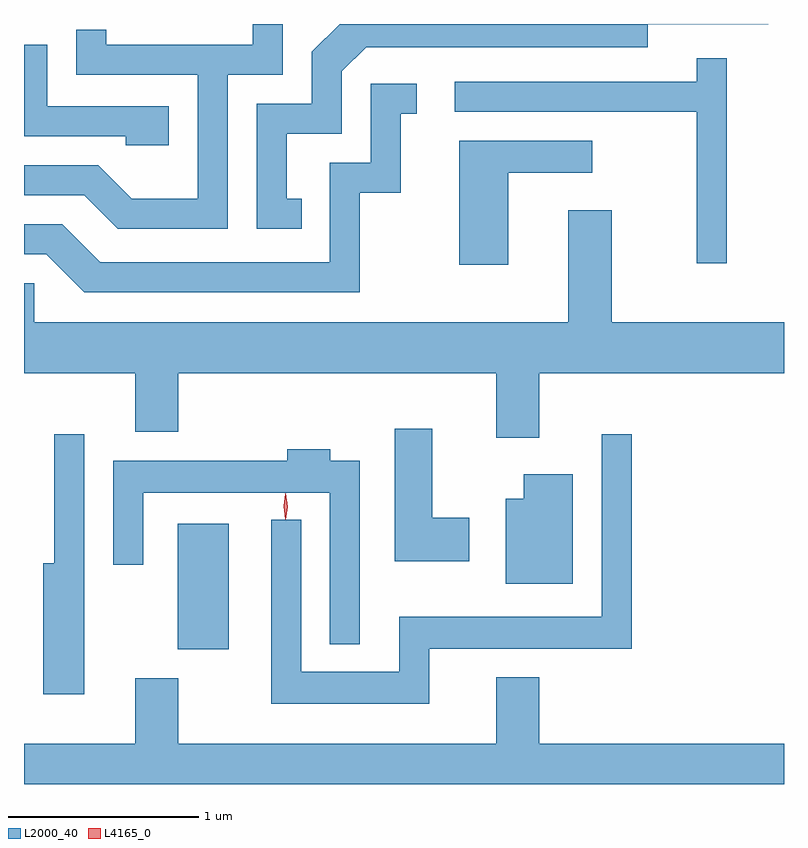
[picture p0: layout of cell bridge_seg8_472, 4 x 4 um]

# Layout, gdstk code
import gdstk
lib = gdstk.Library(unit=1e-6, precision=1e-09)
def R(c, l, rs):  # rectangles x0, y0, x1, y1
    for r in rs: c.add(gdstk.rectangle(r[:2], r[2:], *l))
def P(c, l, *ps):  # polygons
    for p in ps: c.add(gdstk.Polygon(p, *l))
L2000_40 = (2000, 40)
L4165_0 = (4165, 0)

bridge_seg8_472 = lib.new_cell('bridge_seg8_472')
R(bridge_seg8_472, L2000_40, [(509.786,1928.201,510.054,1928.864)])
P(bridge_seg8_472, L2000_40, [(510.438,1930.574),(510.359,1930.574),(510.359,1930.916),(510.649,1930.916),(510.649,1931.244),(510.777,1931.371),(512.259,1931.371),(512.259,1931.491),(512.893,1931.491),(512.893,1931.493),(510.638,1931.493),(510.491,1931.347),(510.491,1931.074),(510.201,1931.074),(510.201,1930.416),(510.438,1930.416)],
  [(510.049,1931.226),(510.339,1931.226),(510.339,1931.493),(510.181,1931.493),(510.181,1931.384),(509.409,1931.384),(509.409,1931.463),(509.251,1931.463),(509.251,1931.226),(509.891,1931.226),(509.891,1930.574),(509.542,1930.574),(509.367,1930.749),(508.976,1930.749),(508.976,1930.591),(509.294,1930.591),(509.469,1930.416),(510.049,1930.416)],
  [(509.739,1931.059),(509.099,1931.059),(509.099,1931.384),(508.976,1931.384),(508.976,1930.901),(509.511,1930.901),(509.511,1930.856),(509.739,1930.856)],
  [(512.674,1931.313),(512.516,1931.313),(512.516,1931.189),(511.243,1931.189),(511.243,1931.031),(512.516,1931.031),(512.516,1930.233),(512.674,1930.233)],
  [(510.744,1930.606),(510.959,1930.606),(510.959,1931.021),(511.043,1931.021),(511.043,1931.179),(510.801,1931.179),(510.801,1930.764),(510.586,1930.764),(510.586,1930.239),(509.377,1930.239),(509.177,1930.439),(508.976,1930.439),(508.976,1930.281),(509.094,1930.281),(509.294,1930.081),(510.744,1930.081)],
  [(511.524,1930.711),(511.968,1930.711),(511.968,1930.879),(511.266,1930.879),(511.266,1930.226),(511.524,1930.226)],
  [(511.689,1929.656),(512.976,1929.656),(512.976,1929.924),(512.069,1929.924),(512.069,1930.514),(511.841,1930.514),(511.841,1929.924),(509.029,1929.924),(509.029,1930.129),(508.976,1930.129),(508.976,1929.656),(509.561,1929.656),(509.561,1929.346),(509.789,1929.346),(509.789,1929.656),(511.461,1929.656),(511.461,1929.316),(511.689,1929.316)],
  [(511.319,1928.894),(511.124,1928.894),(511.124,1929.364),(510.926,1929.364),(510.926,1928.666),(511.319,1928.666)],
  [(511.109,1928.206),(512.174,1928.206),(512.174,1929.333),(512.016,1929.333),(512.016,1928.374),(510.951,1928.374),(510.951,1928.084),(510.434,1928.084),(510.434,1928.883),(510.276,1928.883),(510.276,1927.916),(511.109,1927.916)],
  [(509.294,1929.333),(509.136,1929.333),(509.136,1928.654),(509.076,1928.654),(509.076,1927.966),(509.294,1927.966)],
  [(510.744,1929.194),(510.589,1929.194),(510.589,1929.254),(510.361,1929.254),(510.361,1929.194),(509.446,1929.194),(509.446,1928.648),(509.604,1928.648),(509.604,1929.026),(510.586,1929.026),(510.586,1928.228),(510.744,1928.228)],
  [(511.864,1929.124),(511.606,1929.124),(511.606,1928.994),(511.511,1928.994),(511.511,1928.546),(511.864,1928.546)],
  [(512.976,1927.704),(511.689,1927.704),(511.689,1928.054),(511.461,1928.054),(511.461,1927.704),(509.789,1927.704),(509.789,1928.049),(509.561,1928.049),(509.561,1927.704),(508.976,1927.704),(508.976,1927.493),(512.976,1927.493)])
P(bridge_seg8_472, L4165_0, [(510.353,1928.884),(510.344,1928.953),(510.353,1929.022),(510.354,1929.023),(510.354,1929.022),(510.364,1928.953),(510.354,1928.884),(510.354,1928.884)],
  [(510.352,1928.887),(510.343,1928.954),(510.352,1929.02),(510.352,1929.02),(510.353,1929.02),(510.362,1928.954),(510.353,1928.887),(510.353,1928.887)])

lib.write_gds('bridge_seg8_472.gds')
